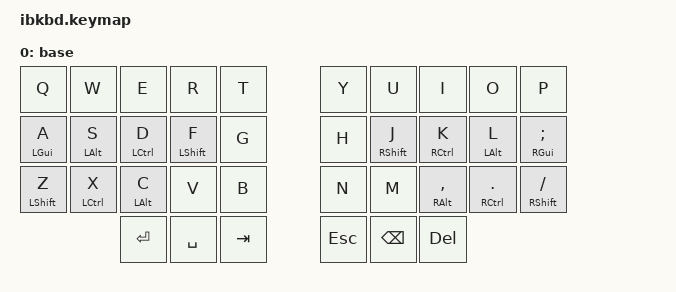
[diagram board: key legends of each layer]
#include <behaviors.dtsi>
#include <dt-bindings/zmk/bt.h>
#include <dt-bindings/zmk/keys.h>
#include <behaviors.dtsi>

/ {
    chosen {
        zmk,matrix-transform = &default_transform;
    };
};

/ {
    behaviors {
        hm: homerow_mods {
            compatible = "zmk,behavior-hold-tap";
            #binding-cells = <2>;
            tapping-term-ms = <175>;
            quick-tap-ms = <0>;
            flavor = "tap-preferred";
            bindings = <&kp>, <&kp>;
        };
    };

    keymap {
        compatible = "zmk,keymap";

        base {
            bindings = <
&kp Q       &kp W       &kp E       &kp R           &kp T    &kp Y      &kp U       &kp I          &kp O         &kp P
&hm LGUI A  &hm LALT S  &hm LCTRL D &hm LSHFT F     &kp G    &kp H      &hm RSHFT J &hm RCTRL K    &hm LALT L    &hm RGUI SEMI
&mt LSHFT Z &mt LCTRL X &mt LALT C  &kp V           &kp B    &kp N      &kp M       &mt RALT COMMA &mt RCTRL DOT &mt RSHFT SLASH
                                   &kp ENTER &kp SPACE &kp TAB &kp ESC &kp BSPC &kp DEL
            >;
        };

    };
};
